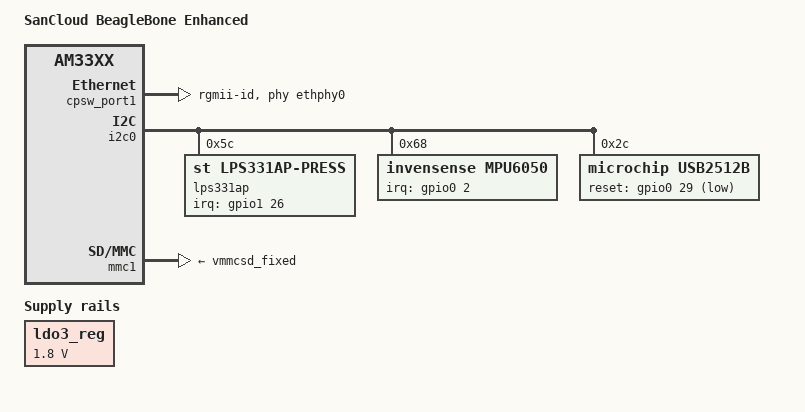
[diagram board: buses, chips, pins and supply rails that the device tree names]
// SPDX-License-Identifier: GPL-2.0-only
/*
 * Copyright (C) 2012 Texas Instruments Incorporated - https://www.ti.com/
 */
/dts-v1/;

#include "am33xx.dtsi"
#include "am335x-bone-common.dtsi"
#include "am335x-bone-common-univ.dtsi"
#include <dt-bindings/interrupt-controller/irq.h>

/ {
	model = "SanCloud BeagleBone Enhanced";
	compatible = "sancloud,am335x-boneenhanced", "ti,am335x-bone-black", "ti,am335x-bone", "ti,am33xx";

	chosen {
		base_dtb = "am335x-sancloud-bbe-uboot-univ.dts";
		base_dtb_timestamp = __TIMESTAMP__;
	};
};

&am33xx_pinmux {
	pinctrl-names = "default";

	cpsw_default: cpsw_default {
		pinctrl-single,pins = <
			/* Slave 1 */
			AM33XX_PADCONF(AM335X_PIN_MII1_TX_EN, PIN_OUTPUT_PULLDOWN, MUX_MODE2)	/* mii1_txen.rgmii1_tctl */
			AM33XX_PADCONF(AM335X_PIN_MII1_RX_DV, PIN_INPUT_PULLDOWN, MUX_MODE2)	/* mii1_rxdv.rgmii1_rctl */
			AM33XX_PADCONF(AM335X_PIN_MII1_TXD3, PIN_OUTPUT_PULLDOWN, MUX_MODE2)	/* mii1_txd3.rgmii1_td3 */
			AM33XX_PADCONF(AM335X_PIN_MII1_TXD2, PIN_OUTPUT_PULLDOWN, MUX_MODE2)	/* mii1_txd2.rgmii1_td2 */
			AM33XX_PADCONF(AM335X_PIN_MII1_TXD1, PIN_OUTPUT_PULLDOWN, MUX_MODE2)	/* mii1_txd1.rgmii1_td1 */
			AM33XX_PADCONF(AM335X_PIN_MII1_TXD0, PIN_OUTPUT_PULLDOWN, MUX_MODE2)	/* mii1_txd0.rgmii1_td0 */
			AM33XX_PADCONF(AM335X_PIN_MII1_TX_CLK, PIN_OUTPUT_PULLDOWN, MUX_MODE2)	/* mii1_txclk.rgmii1_tclk */
			AM33XX_PADCONF(AM335X_PIN_MII1_RX_CLK, PIN_INPUT_PULLDOWN, MUX_MODE2)	/* mii1_rxclk.rgmii1_rclk */
			AM33XX_PADCONF(AM335X_PIN_MII1_RXD3, PIN_INPUT_PULLDOWN, MUX_MODE2)	/* mii1_rxd3.rgmii1_rd3 */
			AM33XX_PADCONF(AM335X_PIN_MII1_RXD2, PIN_INPUT_PULLDOWN, MUX_MODE2)	/* mii1_rxd2.rgmii1_rd2 */
			AM33XX_PADCONF(AM335X_PIN_MII1_RXD1, PIN_INPUT_PULLDOWN, MUX_MODE2)	/* mii1_rxd1.rgmii1_rd1 */
			AM33XX_PADCONF(AM335X_PIN_MII1_RXD0, PIN_INPUT_PULLDOWN, MUX_MODE2)	/* mii1_rxd0.rgmii1_rd0 */
		>;
	};

	cpsw_sleep: cpsw_sleep {
		pinctrl-single,pins = <
			/* Slave 1 reset value */
			AM33XX_PADCONF(AM335X_PIN_MII1_TX_EN, PIN_INPUT_PULLDOWN, MUX_MODE7)
			AM33XX_PADCONF(AM335X_PIN_MII1_RX_DV, PIN_INPUT_PULLDOWN, MUX_MODE7)
			AM33XX_PADCONF(AM335X_PIN_MII1_TXD3, PIN_INPUT_PULLDOWN, MUX_MODE7)
			AM33XX_PADCONF(AM335X_PIN_MII1_TXD2, PIN_INPUT_PULLDOWN, MUX_MODE7)
			AM33XX_PADCONF(AM335X_PIN_MII1_TXD1, PIN_INPUT_PULLDOWN, MUX_MODE7)
			AM33XX_PADCONF(AM335X_PIN_MII1_TXD0, PIN_INPUT_PULLDOWN, MUX_MODE7)
			AM33XX_PADCONF(AM335X_PIN_MII1_TX_CLK, PIN_INPUT_PULLDOWN, MUX_MODE7)
			AM33XX_PADCONF(AM335X_PIN_MII1_RX_CLK, PIN_INPUT_PULLDOWN, MUX_MODE7)
			AM33XX_PADCONF(AM335X_PIN_MII1_RXD3, PIN_INPUT_PULLDOWN, MUX_MODE7)
			AM33XX_PADCONF(AM335X_PIN_MII1_RXD2, PIN_INPUT_PULLDOWN, MUX_MODE7)
			AM33XX_PADCONF(AM335X_PIN_MII1_RXD1, PIN_INPUT_PULLDOWN, MUX_MODE7)
			AM33XX_PADCONF(AM335X_PIN_MII1_RXD0, PIN_INPUT_PULLDOWN, MUX_MODE7)
		>;
	};

	usb_hub_ctrl: usb_hub_ctrl {
		pinctrl-single,pins = <
			AM33XX_PADCONF(AM335X_PIN_RMII1_REF_CLK, PIN_OUTPUT_PULLUP, MUX_MODE7)     /* rmii1_refclk.gpio0_29 */
		>;
	};

	mpu6050_pins: pinmux_mpu6050_pins {
		pinctrl-single,pins = <
			AM33XX_PADCONF(AM335X_PIN_UART0_CTSN, PIN_INPUT, MUX_MODE7)    /* uart0_ctsn.gpio1_8 */
		>;
	};

	lps3331ap_pins: pinmux_lps3331ap_pins {
		pinctrl-single,pins = <
			AM33XX_PADCONF(AM335X_PIN_GPMC_A10, PIN_INPUT, MUX_MODE7)     /* gpmc_a10.gpio1_26 */
		>;
	};
};

&mac_sw {
	pinctrl-0 = <&cpsw_default>;
	pinctrl-1 = <&cpsw_sleep>;
};

&cpsw_port1 {
	phy-handle = <&ethphy0>;
	phy-mode = "rgmii-id";
};

&i2c0 {
	lps331ap: barometer@5c {
		compatible = "st,lps331ap-press";
		st,drdy-int-pin = <1>;
		reg = <0x5c>;
		interrupt-parent = <&gpio1>;
		interrupts = <26 IRQ_TYPE_EDGE_RISING>;
	};

	mpu6050: accelerometer@68 {
		compatible = "invensense,mpu6050";
		reg = <0x68>;
		interrupt-parent = <&gpio0>;
		interrupts = <2 IRQ_TYPE_EDGE_RISING>;
		orientation = <0xff 0 0 0 1 0 0 0 0xff>;
	};

	usb2512b: usb-hub@2c {
		compatible = "microchip,usb2512b";
		reg = <0x2c>;
		reset-gpios = <&gpio0 29 GPIO_ACTIVE_LOW>;
		/* wifi on port 4 */
	};
};

&ldo3_reg {
	regulator-min-microvolt = <1800000>;
	regulator-max-microvolt = <1800000>;
	regulator-always-on;
};

&mmc1 {
	vmmc-supply = <&vmmcsd_fixed>;
};
